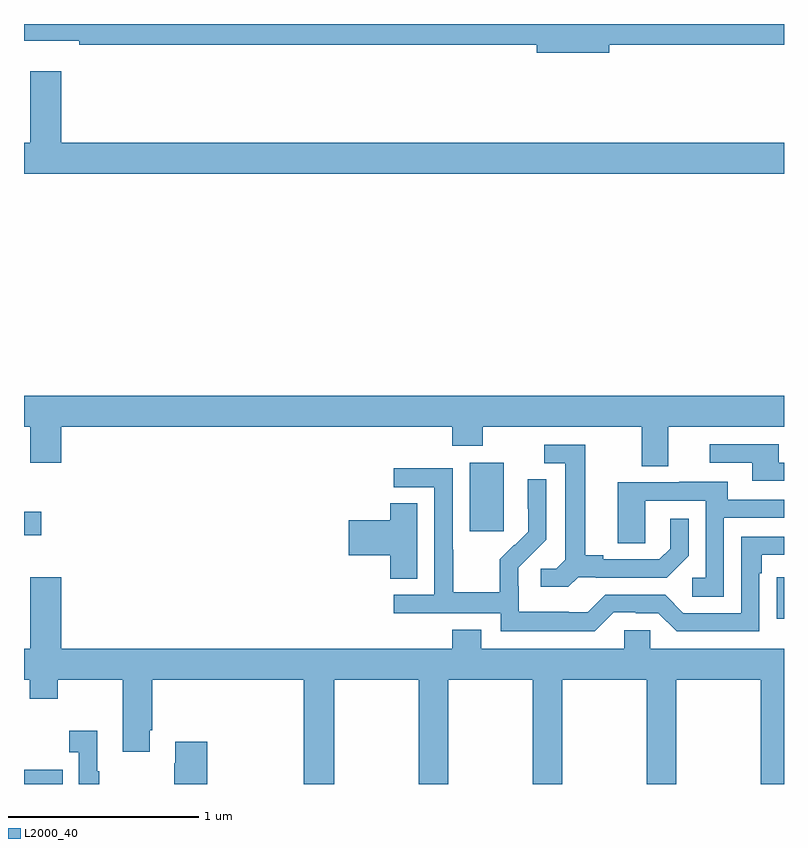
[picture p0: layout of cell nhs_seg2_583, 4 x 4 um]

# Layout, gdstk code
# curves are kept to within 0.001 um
import gdstk
lib = gdstk.Library(unit=1e-6, precision=1e-09)
def R(c, l, rs):  # rectangles x0, y0, x1, y1
    for r in rs: c.add(gdstk.rectangle(r[:2], r[2:], *l))
def P(c, l, *ps):  # polygons
    for p in ps: c.add(gdstk.Polygon(p, *l))
L2000_40 = (2000, 40)

nhs_seg2_583 = lib.new_cell('nhs_seg2_583')
R(nhs_seg2_583, L2000_40, [(141,601.8,141.203,601.875), (144.961,602.67,145,602.888), (141,603.11,141.091,603.232), (143.345,603.129,143.524,603.49)])
P(nhs_seg2_583, L2000_40, [(144.079,605.692),(145,605.692),(145,605.8),(141,605.8),(141,605.711),(141.292,605.711),(141.292,605.692),(143.699,605.692),(143.699,605.65),(144.079,605.65)],
  [(145,605.176),(141.196,605.176),(141.196,605.551),(141.032,605.551),(141.032,605.176),(141,605.176),(141,605.012),(145,605.012)],
  [(144.391,603.68),(145,603.68),(145,603.844),(141,603.844),(141,603.68),(141.032,603.68),(141.032,603.492),(141.196,603.492),(141.196,603.68),(143.255,603.68),(143.255,603.581),(143.415,603.581),(143.415,603.68),(144.251,603.68),(144.251,603.472),(144.391,603.472)],
  [(145,603.492),(144.973,603.492),(144.973,603.588),(144.609,603.588),(144.609,603.492),(144.833,603.492),(144.833,603.396),(145,603.396)],
  [(143.916,602.889),(144.01,602.889),(144.01,602.886),(144.382,602.886),(144.498,603.002),(144.498,603.196),(144.401,603.196),(144.401,603.039),(144.344,602.982),(144.049,602.982),(144.049,603.005),(143.953,603.005),(143.953,603.585),(143.739,603.585),(143.739,603.489),(143.849,603.489),(143.849,602.981),(143.802,602.934),(143.721,602.934),(143.721,602.837),(143.864,602.837)],
  [(144.105,602.703),(144.221,602.703),(144.221,602.7),(144.339,602.7),(144.435,602.604),(144.87,602.604),(144.87,602.909),(144.883,602.909),(144.883,603.006),(145,603.006),(145,603.102),(144.774,603.102),(144.774,602.7),(144.471,602.7),(144.375,602.796),(144.06,602.796),(143.967,602.703),(143.867,602.703),(143.867,602.707),(143.604,602.707),(143.604,602.841),(143.602,602.841),(143.602,602.938),(143.748,603.086),(143.748,603.404),(143.652,603.404),(143.652,603.25),(143.654,603.25),(143.654,603.128),(143.583,603.057),(143.58,603.06),(143.503,602.983),(143.503,602.809),(143.259,602.809),(143.259,603.032),(143.256,603.032),(143.256,603.462),(142.947,603.462),(142.947,603.363),(143.16,603.363),(143.16,602.796),(142.947,602.796),(142.947,602.7),(143.508,602.7),(143.508,602.603),(144.005,602.603)],
  [(144.684,603.201),(145,603.201),(145,603.297),(144.703,603.297),(144.703,603.391),(144.449,603.391),(144.449,603.387),(144.125,603.387),(144.125,603.067),(144.27,603.067),(144.27,603.291),(144.588,603.291),(144.588,602.886),(144.516,602.886),(144.516,602.785),(144.684,602.785)],
  [(143.071,603.278),(142.928,603.278),(142.928,603.188),(142.71,603.188),(142.71,603.005),(142.928,603.005),(142.928,602.881),(143.071,602.881)],
  [(142.632,602.348),(143.077,602.348),(143.077,601.8),(143.232,601.8),(143.232,602.348),(143.677,602.348),(143.677,601.8),(143.832,601.8),(143.832,602.348),(144.277,602.348),(144.277,601.8),(144.432,601.8),(144.432,602.348),(144.877,602.348),(144.877,601.8),(145,601.8),(145,602.512),(144.297,602.512),(144.297,602.61),(144.159,602.61),(144.159,602.512),(143.407,602.512),(143.407,602.611),(143.255,602.611),(143.255,602.512),(141.196,602.512),(141.196,602.887),(141.032,602.887),(141.032,602.512),(141,602.512),(141,602.348),(141.029,602.348),(141.029,602.249),(141.177,602.249),(141.177,602.348),(141.521,602.348),(141.521,601.971),(141.661,601.971),(141.661,602.083),(141.674,602.083),(141.674,602.348),(142.472,602.348),(142.472,601.8),(142.632,601.8)],
  [(141.397,601.867),(141.385,601.867),(141.385,602.08),(141.237,602.08),(141.237,601.967),(141.288,601.967),(141.288,601.8),(141.397,601.8)],
  [(141.965,602.023),(141.797,602.023),(141.797,601.91),(141.79,601.91),(141.79,601.8),(141.965,601.8)])

lib.write_gds('nhs_seg2_583.gds')
